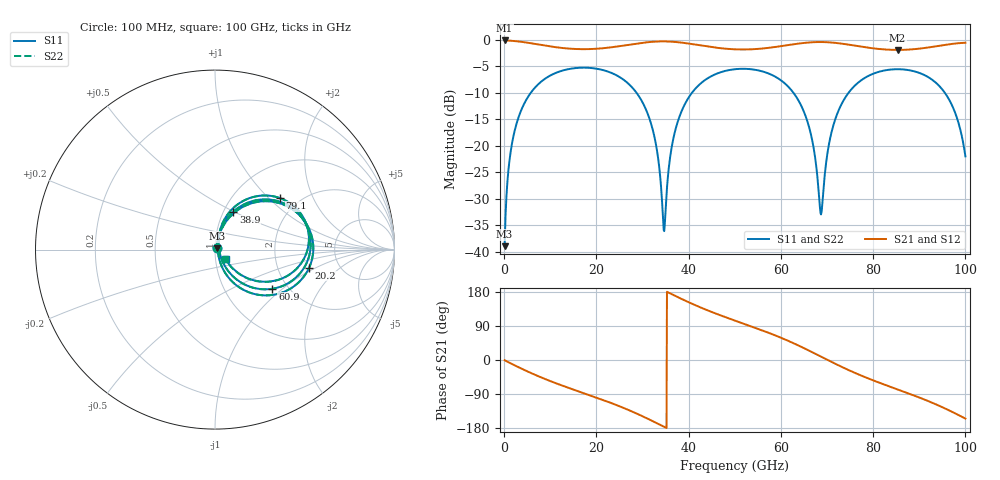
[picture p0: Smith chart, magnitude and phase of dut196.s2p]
! Touchstone file exported from HFSS 2026.1.0
!  File:  C:/ffzhzh/LocalFiles/Ansys_Project_Files/temp_test_TSV_RDL_196_1783480031_33644.aedt
!  Generated:  11:15:10 AM Jul  8, 2026
!  Design:  TSV_RDL
!  Project:  temp_test_TSV_RDL_196_1783480031_33644
! Variables:
!  h_bsmrdl = 2.06um
!  h_ox = 20um
!  h_rdl = 5um
!  h_sub = 70.95um
!  h_tmrdl = 3.22um
!  h_tsv = 70.95um
!  h_via = 3um
!  l_bsmrdl = 180.29um
!  l_sub = 1685.39um
!  l_tmrdl = 144.67um
!  m_sub = 200um
!  pitch = 59.11um
!  r_tsv = 5.03um
!  s_tmrdl = 10um
!  w_bsmrdl = 29.62um
!  w_sub = 500um
!  w_tmrdl = 25.66um
!  x_tsv_center1 = 157.5um
!  x_tsv_center2 = 367.41um
!  x_tsv_center3 = 537.74um
!  x_tsv_center4 = 747.65um
!  x_tsv_center5 = 917.98um
!  x_tsv_center6 = 1127.89um
# GHz S MA R 50.000000
! Terminal data exported
! Port[1] = TM_RDL1_1_T1
! Port[2] = TM_RDL5_1_T1
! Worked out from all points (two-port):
!   1000 points, 100 MHz to 100 GHz, reference 50 ohm
!   highest |S21| = -0.08 dB at 100 MHz (marker M1); lowest = -1.9 dB at 85.3 GHz (marker M2)
!   |S21| within 3 dB of the highest: start of sweep to end of sweep
!   lowest |S11| = -39.0 dB at 100 MHz (marker M3), VSWR 1.02, Z = 50.9 + j0.666 ohm
!   |S11| at or under -10 dB: start of sweep to 5.753 GHz; 28.72 GHz to 40.7 GHz (11.98 GHz wide, 34.5 % of centre); 62.74 GHz to 74.65 GHz (11.91 GHz wide, 17.3 % of centre) (the widest 3 of 4)
!   |S22| runs from -39.0 to -5.2 dB; largest |S21 - S12| = 3.5e-13
!   S11 on the Smith chart (normalised r, x): 100 MHz: 1.02, +0.01; 20.2 GHz: 3.02, -0.85; 38.9 GHz: 1.11, +0.50; 60.9 GHz: 1.67, -0.86; 79.1 GHz: 1.60, +1.17; 100 GHz: 1.12, -0.12
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0.1  0.01124 35.6  0.9909 -0.6  0.9909 -0.6  0.01124 35.6
! Gamma 0 0 0 0
! Port Impedance 50 0 50 0
1.5  0.09326 73.6  0.9842 -9.3  0.9842 -9.3  0.09326 73.6
4.2  0.2429 61.3  0.9558 -25.3  0.9558 -25.3  0.2429 61.3
9.6  0.4514 34.3  0.8756 -53.7  0.8756 -53.7  0.4514 34.3
16.8  0.5476 3.2  0.82 -85.6  0.82 -85.6  0.5476 3.2
20.2  0.5341 -10.9  0.8283 -100.1  0.8283 -100.1  0.5341 -10.9
29.1  0.2995 -52.0  0.9307 -143.4  0.9307 -143.4  0.2995 -52.0
33.4  0.0754 -67.8  0.9691 -168.5  0.9691 -168.5  0.07545 -67.7
34.7  0.01559 9.5  0.9705 -176.4  0.9705 -176.4  0.01581 9.4
36.4  0.1013 73.7  0.9642 173.3  0.9642 173.3  0.1013 73.5
38.9  0.234 64.3  0.9404 158.6  0.9404 158.6  0.234 64.2
50.1  0.5301 12.8  0.817 103.7  0.817 103.7  0.5302 12.7
60.9  0.3872 -34.3  0.8871 54.2  0.8871 54.2  0.3873 -34.4
66.7  0.1177 -58.9  0.9524 21.2  0.9524 21.2  0.1177 -59.1
68.7  0.02245 10.1  0.9575 8.9  0.9575 8.9  0.022 9.7
70.4  0.1023 75.3  0.9516 -1.6  0.9516 -1.6  0.1021 75.4
72.1  0.1949 71.3  0.9373 -11.8  0.9373 -11.8  0.1947 71.4
79.1  0.4611 38.6  0.8448 -49.4  0.8448 -49.4  0.461 38.5
83.4  0.5236 19.9  0.8103 -69.2  0.8103 -69.2  0.5235 19.8
85.3  0.5298 11.9  0.8065 -77.7  0.8065 -77.7  0.5297 11.8
95  0.3407 -31.6  0.8916 -124.5  0.8916 -124.5  0.3407 -31.9
100  0.0794 -42.1  0.9426 -154.6  0.9426 -154.6  0.07887 -43.1
